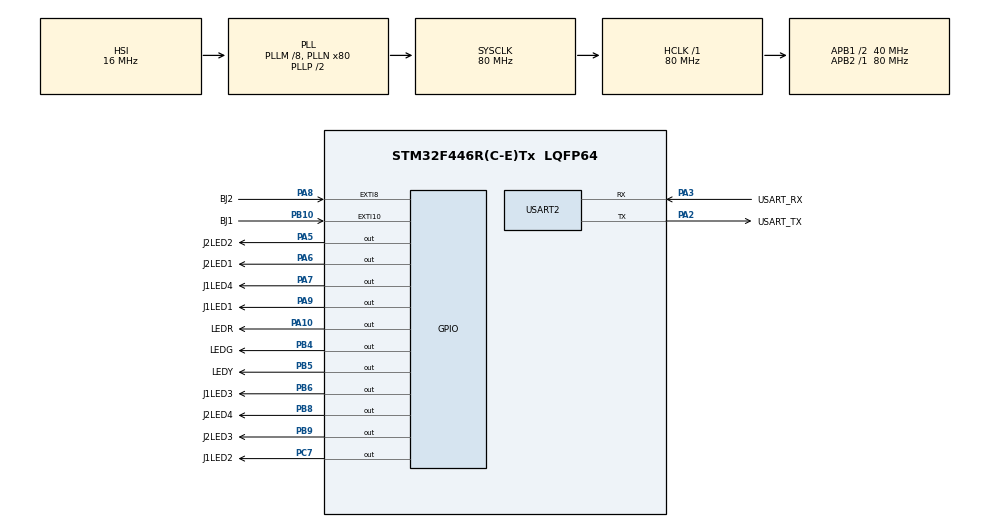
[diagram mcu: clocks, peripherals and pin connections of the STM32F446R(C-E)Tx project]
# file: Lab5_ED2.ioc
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Mcu.Family=STM32F4
Mcu.Name=STM32F446R(C-E)Tx
Mcu.Package=LQFP64
NVIC.EXTI15_10_IRQn=true\:0\:0\:false\:false\:true\:true\:true\:true
NVIC.EXTI9_5_IRQn=true\:0\:0\:false\:false\:true\:true\:true\:true
NVIC.PriorityGroup=NVIC_PRIORITYGROUP_0
NVIC.USART2_IRQn=true\:0\:0\:false\:false\:true\:true\:true\:true
PA10.GPIO_Label=LEDR
PA10.Signal=GPIO_Output
PA13.GPIO_Label=TMS
PA13.Signal=SYS_JTMS-SWDIO
PA14.GPIO_Label=TCK
PA14.Signal=SYS_JTCK-SWCLK
PA2.GPIO_Label=USART_TX
PA2.Mode=Asynchronous
PA2.Signal=USART2_TX
PA3.GPIO_Label=USART_RX
PA3.Mode=Asynchronous
PA3.Signal=USART2_RX
PA5.GPIO_Label=J2LED2
PA5.Signal=GPIO_Output
PA6.GPIO_Label=J2LED1
PA6.Signal=GPIO_Output
PA7.GPIO_Label=J1LED4
PA7.Signal=GPIO_Output
PA8.GPIO_Label=BJ2
PA8.GPIO_PuPd=GPIO_PULLDOWN
PA8.Signal=GPXTI8
PA9.GPIO_Label=J1LED1
PA9.Signal=GPIO_Output
PB10.GPIO_Label=BJ1
PB10.GPIO_PuPd=GPIO_PULLDOWN
PB10.Signal=GPXTI10
PB3.GPIO_Label=SWO
PB3.Signal=SYS_JTDO-SWO
PB4.GPIO_Label=LEDG
PB4.Signal=GPIO_Output
PB5.GPIO_Label=LEDY
PB5.Signal=GPIO_Output
PB6.GPIO_Label=J1LED3
PB6.Signal=GPIO_Output
PB8.GPIO_Label=J2LED4
PB8.Signal=GPIO_Output
PB9.GPIO_Label=J2LED3
PB9.Signal=GPIO_Output
PC14-OSC32_IN.Signal=RCC_OSC32_IN
PC15-OSC32_OUT.Signal=RCC_OSC32_OUT
PC7.GPIO_Label=J1LED2
PC7.Signal=GPIO_Output
PH0-OSC_IN.Signal=RCC_OSC_IN
PH1-OSC_OUT.Signal=RCC_OSC_OUT
ProjectManager.HeapSize=0x200
ProjectManager.StackSize=0x400
ProjectManager.TargetToolchain=STM32CubeIDE
RCC.AHBFreq_Value=80000000
RCC.APB1CLKDivider=RCC_HCLK_DIV2
RCC.APB1Freq_Value=40000000
RCC.APB1TimFreq_Value=80000000
RCC.APB2Freq_Value=80000000
RCC.APB2TimFreq_Value=80000000
RCC.CortexFreq_Value=80000000
RCC.FLatency-AdvancedSettings=FLASH_LATENCY_2
RCC.HCLKFreq_Value=80000000
RCC.HSE_VALUE=8000000
RCC.HSI_VALUE=16000000
RCC.LSE_VALUE=32768
RCC.PLLM=8
RCC.PLLN=80
RCC.SYSCLKFreq_VALUE=80000000
RCC.SYSCLKSource=RCC_SYSCLKSOURCE_PLLCLK
RCC.USBFreq_Value=80000000
RCC.VCOOutputFreq_Value=160000000
USART2.VirtualMode=VM_ASYNC
board=NUCLEO-F446RE

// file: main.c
/* USER CODE BEGIN Header */
/**
  ******************************************************************************
  * @file           : main.c
  * @brief          : Main program body
  ******************************************************************************
  * @attention
  *
  * Copyright (c) 2026 STMicroelectronics.
  * All rights reserved.
  *
  * This software is licensed under terms that can be found in the LICENSE file
  * in the root directory of this software component.
  * If no LICENSE file comes with this software, it is provided AS-IS.
  *
  ******************************************************************************
  */
/* USER CODE END Header */
#include "main.h"

/* USER CODE BEGIN Includes */
#include <stdint.h>
/* USER CODE END Includes */

UART_HandleTypeDef huart2;

/* USER CODE BEGIN PV */

uint8_t datoUART;

uint8_t SeAc = 0;
uint8_t JAc = 0;

/* Jugador 1*/
uint8_t contadorJ1 = 0;
uint32_t tJ1 = 0;

/* Jugador 2*/
uint8_t contadorJ2 = 0;
uint32_t tJ2 = 0;

/* Ganador */
uint32_t ganador = 0;

#define t_antir 200

/* USER CODE END PV */

void SystemClock_Config(void);
static void MX_GPIO_Init(void);
static void MX_USART2_UART_Init(void);
/* USER CODE BEGIN PFP */
void semaforo(void);
void mostrarNumero1(uint8_t numero);
void mostrarNumero2(uint8_t numero);
/* USER CODE END PFP */

/* USER CODE BEGIN 0 */

/* Mostrar números del contador de décadas del Jugador 1 */
void mostrarNumero1(uint8_t numero)
{
    /* Apagado */
    HAL_GPIO_WritePin(J1LED1_GPIO_Port, J1LED1_Pin, GPIO_PIN_RESET);
    HAL_GPIO_WritePin(J1LED2_GPIO_Port, J1LED2_Pin, GPIO_PIN_RESET);
    HAL_GPIO_WritePin(J1LED3_GPIO_Port, J1LED3_Pin, GPIO_PIN_RESET);
    HAL_GPIO_WritePin(J1LED4_GPIO_Port, J1LED4_Pin, GPIO_PIN_RESET);

    /* Número */
    switch(numero)
    {
        case 0:
            /* 0000 */
            break;
        case 1:
            /* 0001 */
            HAL_GPIO_WritePin(J1LED1_GPIO_Port, J1LED1_Pin, GPIO_PIN_SET);
            break;
        case 2:
            /* 0010 */
            HAL_GPIO_WritePin(J1LED2_GPIO_Port, J1LED2_Pin, GPIO_PIN_SET);
            break;
        case 3:
            /* 0100 */
            HAL_GPIO_WritePin(J1LED3_GPIO_Port, J1LED3_Pin, GPIO_PIN_SET);
            break;
        case 4:
            /* 1000 */
            HAL_GPIO_WritePin(J1LED4_GPIO_Port, J1LED4_Pin, GPIO_PIN_SET);
            break;
        default:
            break;
    }
}

/* Mostrar números del contador de décadas del Jugador 2 */
void mostrarNumero2(uint8_t numero)
{
    /* Apagado */
    HAL_GPIO_WritePin(J2LED1_GPIO_Port, J2LED1_Pin, GPIO_PIN_RESET);
    HAL_GPIO_WritePin(J2LED2_GPIO_Port, J2LED2_Pin, GPIO_PIN_RESET);
    HAL_GPIO_WritePin(J2LED3_GPIO_Port, J2LED3_Pin, GPIO_PIN_RESET);
    HAL_GPIO_WritePin(J2LED4_GPIO_Port, J2LED4_Pin, GPIO_PIN_RESET);

    /* Número */
    switch(numero)
    {
        case 0:
            /* 0000 */
            break;
        case 1:
            /* 0001 */
            HAL_GPIO_WritePin(J2LED1_GPIO_Port, J2LED1_Pin, GPIO_PIN_SET);
            break;
        case 2:
            /* 0010 */
            HAL_GPIO_WritePin(J2LED2_GPIO_Port, J2LED2_Pin, GPIO_PIN_SET);
            break;
        case 3:
            /* 0100 */
            HAL_GPIO_WritePin(J2LED3_GPIO_Port, J2LED3_Pin, GPIO_PIN_SET);
            break;
        case 4:
            /* 1000 */
            HAL_GPIO_WritePin(J2LED4_GPIO_Port, J2LED4_Pin, GPIO_PIN_SET);
            break;
        default:
            break;
    }
}

/* USER CODE END 0 */

int main(void)
{

  /* MCU Configuration--------------------------------------------------------*/

  /* Reset of all peripherals, Initializes the Flash interface and the Systick. */
  HAL_Init();

  /* Configure the system clock */
  SystemClock_Config();

  /* Initialize all configured peripherals */
  MX_GPIO_Init();
  MX_USART2_UART_Init();
  /* USER CODE BEGIN 2 */

  HAL_UART_Receive_IT(&huart2, &datoUART, 1);

  /* USER CODE END 2 */

  /* Infinite loop */
  while (1)
  {

    /* USER CODE BEGIN 3 */
	  if(SeAc == 1)
	      {
	          SeAc = 0;

	          /* Reinicia*/
	          contadorJ1 = 0;
	          contadorJ2 = 0;
	          ganador = 0;

	          mostrarNumero1(contadorJ1);
	          mostrarNumero2(contadorJ2);

	          semaforo();
	      }

	      /* Mensaje Ganador */
	      if(ganador == 1)
	      {
	          ganador = 0;
	          HAL_UART_Transmit(&huart2, (uint8_t*)"Jugador 1 gana!\r\n", 18, HAL_MAX_DELAY);
	      }
	      if(ganador == 2)
	      {
	          ganador = 0;
	          HAL_UART_Transmit(&huart2, (uint8_t*)"Jugador 2 gana!\r\n", 18, HAL_MAX_DELAY);
	      }

	  }
  /* USER CODE END 3 */
}

void SystemClock_Config(void)
{
  RCC_OscInitTypeDef RCC_OscInitStruct = {0};
  RCC_ClkInitTypeDef RCC_ClkInitStruct = {0};

  /** Configure the main internal regulator output voltage
  */
  __HAL_RCC_PWR_CLK_ENABLE();
  __HAL_PWR_VOLTAGESCALING_CONFIG(PWR_REGULATOR_VOLTAGE_SCALE3);

  /** Initializes the RCC Oscillators according to the specified parameters
  * in the RCC_OscInitTypeDef structure.
  */
  RCC_OscInitStruct.OscillatorType = RCC_OSCILLATORTYPE_HSI;
  RCC_OscInitStruct.HSIState = RCC_HSI_ON;
  RCC_OscInitStruct.HSICalibrationValue = RCC_HSICALIBRATION_DEFAULT;
  RCC_OscInitStruct.PLL.PLLState = RCC_PLL_ON;
  RCC_OscInitStruct.PLL.PLLSource = RCC_PLLSOURCE_HSI;
  RCC_OscInitStruct.PLL.PLLM = 8;
  RCC_OscInitStruct.PLL.PLLN = 80;
  RCC_OscInitStruct.PLL.PLLP = RCC_PLLP_DIV2;
  RCC_OscInitStruct.PLL.PLLQ = 2;
  RCC_OscInitStruct.PLL.PLLR = 2;
  if (HAL_RCC_OscConfig(&RCC_OscInitStruct) != HAL_OK)
  {
    Error_Handler();
  }

  /** Initializes the CPU, AHB and APB buses clocks
  */
  RCC_ClkInitStruct.ClockType = RCC_CLOCKTYPE_HCLK|RCC_CLOCKTYPE_SYSCLK
                              |RCC_CLOCKTYPE_PCLK1|RCC_CLOCKTYPE_PCLK2;
  RCC_ClkInitStruct.SYSCLKSource = RCC_SYSCLKSOURCE_PLLCLK;
  RCC_ClkInitStruct.AHBCLKDivider = RCC_SYSCLK_DIV1;
  RCC_ClkInitStruct.APB1CLKDivider = RCC_HCLK_DIV2;
  RCC_ClkInitStruct.APB2CLKDivider = RCC_HCLK_DIV1;

  if (HAL_RCC_ClockConfig(&RCC_ClkInitStruct, FLASH_LATENCY_2) != HAL_OK)
  {
    Error_Handler();
  }
}

static void MX_USART2_UART_Init(void)
{

  huart2.Instance = USART2;
  huart2.Init.BaudRate = 115200;
  huart2.Init.WordLength = UART_WORDLENGTH_8B;
  huart2.Init.StopBits = UART_STOPBITS_1;
  huart2.Init.Parity = UART_PARITY_NONE;
  huart2.Init.Mode = UART_MODE_TX_RX;
  huart2.Init.HwFlowCtl = UART_HWCONTROL_NONE;
  huart2.Init.OverSampling = UART_OVERSAMPLING_16;
  if (HAL_UART_Init(&huart2) != HAL_OK)
  {
    Error_Handler();
  }

}

static void MX_GPIO_Init(void)
{
  GPIO_InitTypeDef GPIO_InitStruct = {0};

  /* GPIO Ports Clock Enable */
  __HAL_RCC_GPIOC_CLK_ENABLE();
  __HAL_RCC_GPIOH_CLK_ENABLE();
  __HAL_RCC_GPIOA_CLK_ENABLE();
  __HAL_RCC_GPIOB_CLK_ENABLE();

  /*Configure GPIO pin Output Level */
  HAL_GPIO_WritePin(GPIOA, J2LED2_Pin|J2LED1_Pin|J1LED4_Pin|J1LED1_Pin
                          |LEDR_Pin, GPIO_PIN_RESET);

  /*Configure GPIO pin Output Level */
  HAL_GPIO_WritePin(J1LED2_GPIO_Port, J1LED2_Pin, GPIO_PIN_RESET);

  /*Configure GPIO pin Output Level */
  HAL_GPIO_WritePin(GPIOB, LEDG_Pin|LEDY_Pin|J1LED3_Pin|J2LED4_Pin
                          |J2LED3_Pin, GPIO_PIN_RESET);

  /*Configure GPIO pins : J2LED2_Pin J2LED1_Pin J1LED4_Pin J1LED1_Pin
                           LEDR_Pin */
  GPIO_InitStruct.Pin = J2LED2_Pin|J2LED1_Pin|J1LED4_Pin|J1LED1_Pin
                          |LEDR_Pin;
  GPIO_InitStruct.Mode = GPIO_MODE_OUTPUT_PP;
  GPIO_InitStruct.Pull = GPIO_NOPULL;
  GPIO_InitStruct.Speed = GPIO_SPEED_FREQ_LOW;
  HAL_GPIO_Init(GPIOA, &GPIO_InitStruct);

  /*Configure GPIO pin : BJ1_Pin */
  GPIO_InitStruct.Pin = BJ1_Pin;
  GPIO_InitStruct.Mode = GPIO_MODE_IT_RISING;
  GPIO_InitStruct.Pull = GPIO_PULLDOWN;
  HAL_GPIO_Init(BJ1_GPIO_Port, &GPIO_InitStruct);

  /*Configure GPIO pin : J1LED2_Pin */
  GPIO_InitStruct.Pin = J1LED2_Pin;
  GPIO_InitStruct.Mode = GPIO_MODE_OUTPUT_PP;
  GPIO_InitStruct.Pull = GPIO_NOPULL;
  GPIO_InitStruct.Speed = GPIO_SPEED_FREQ_LOW;
  HAL_GPIO_Init(J1LED2_GPIO_Port, &GPIO_InitStruct);

  /*Configure GPIO pin : BJ2_Pin */
  GPIO_InitStruct.Pin = BJ2_Pin;
  GPIO_InitStruct.Mode = GPIO_MODE_IT_RISING;
  GPIO_InitStruct.Pull = GPIO_PULLDOWN;
  HAL_GPIO_Init(BJ2_GPIO_Port, &GPIO_InitStruct);

  /*Configure GPIO pins : LEDG_Pin LEDY_Pin J1LED3_Pin J2LED4_Pin
                           J2LED3_Pin */
  GPIO_InitStruct.Pin = LEDG_Pin|LEDY_Pin|J1LED3_Pin|J2LED4_Pin
                          |J2LED3_Pin;
  GPIO_InitStruct.Mode = GPIO_MODE_OUTPUT_PP;
  GPIO_InitStruct.Pull = GPIO_NOPULL;
  GPIO_InitStruct.Speed = GPIO_SPEED_FREQ_LOW;
  HAL_GPIO_Init(GPIOB, &GPIO_InitStruct);

  /* EXTI interrupt init*/
  HAL_NVIC_SetPriority(EXTI9_5_IRQn, 0, 0);
  HAL_NVIC_EnableIRQ(EXTI9_5_IRQn);

  HAL_NVIC_SetPriority(EXTI15_10_IRQn, 0, 0);
  HAL_NVIC_EnableIRQ(EXTI15_10_IRQn);

}

/* USER CODE BEGIN 4 */

void semaforo(void)
{
    HAL_GPIO_WritePin(LEDR_GPIO_Port, LEDR_Pin, GPIO_PIN_SET);
    HAL_Delay(1000);

    HAL_GPIO_WritePin(LEDR_GPIO_Port, LEDR_Pin, GPIO_PIN_RESET);
    HAL_GPIO_WritePin(LEDY_GPIO_Port, LEDY_Pin, GPIO_PIN_SET);
    HAL_Delay(1000);

    HAL_GPIO_WritePin(LEDY_GPIO_Port, LEDY_Pin, GPIO_PIN_RESET);
    HAL_GPIO_WritePin(LEDG_GPIO_Port, LEDG_Pin, GPIO_PIN_SET);
    HAL_Delay(1000);

    HAL_GPIO_WritePin(LEDG_GPIO_Port, LEDG_Pin, GPIO_PIN_RESET);

    JAc = 1;
}

void HAL_UART_RxCpltCallback(UART_HandleTypeDef *huart)
{
    if(huart->Instance == USART2)
    {
        if(datoUART == 'S' && JAc == 0 && SeAc == 0)
        {
            SeAc = 1;
        }
        HAL_UART_Receive_IT(&huart2, &datoUART, 1);
    }
}

/* Interrupciones de los jugadores*/
void HAL_GPIO_EXTI_Callback(uint16_t GPIO_Pin)
{
	/* Jugador 1 */
    if(GPIO_Pin == BJ1_Pin)
    {
        if(JAc == 1)
        {
            /* Anti-rebote */
            if((HAL_GetTick() - tJ1) >= t_antir)
            {
                if(contadorJ1 < 4)
                {
                    contadorJ1++;
                    mostrarNumero1(contadorJ1);
                    if(contadorJ1 == 4)
                    {
                        JAc = 0;
                        ganador = 1;
                    }
                }
                tJ1 = HAL_GetTick();
            }
        }
    }

    /* Jugador 2 */
    if(GPIO_Pin == BJ2_Pin)
    {
        if(JAc == 1)
        {
            /* Anti-rebote */
            if((HAL_GetTick() - tJ2) >= t_antir)
            {
                if(contadorJ2 < 4)
                {
                    contadorJ2++;
                    mostrarNumero2(contadorJ2);

                    if(contadorJ2 == 4)
                    {
                        JAc = 0;
                        ganador = 2;
                    }
                }
                tJ2 = HAL_GetTick();
            }
        }
    }
}

/* USER CODE END 4 */

void Error_Handler(void)
{
  __disable_irq();
  while (1)
  {
  }
}
